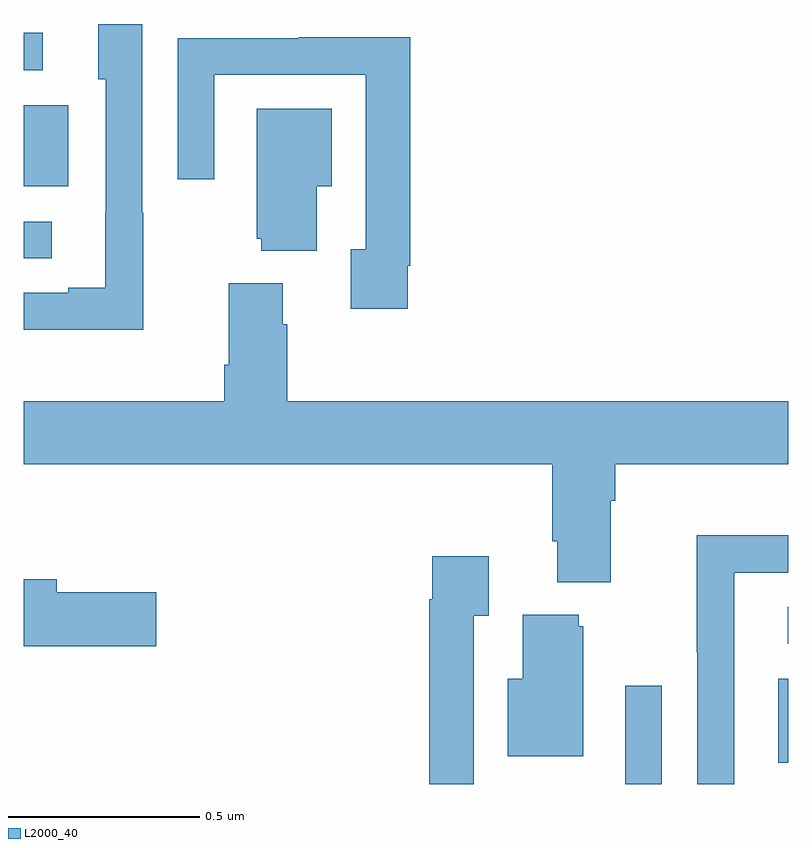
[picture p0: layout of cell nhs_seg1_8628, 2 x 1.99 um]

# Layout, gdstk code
import gdstk
lib = gdstk.Library(unit=1e-6, precision=1e-09)
def R(c, l, rs):  # rectangles x0, y0, x1, y1
    for r in rs: c.add(gdstk.rectangle(r[:2], r[2:], *l))
def P(c, l, *ps):  # polygons
    for p in ps: c.add(gdstk.Polygon(p, *l))
L2000_40 = (2000, 40)

nhs_seg1_8628 = lib.new_cell('nhs_seg1_8628')
R(nhs_seg1_8628, L2000_40, [(219.573,580.199,219.669,580.456), (219.974,580.255,220,580.474), (219.999,580.566,220,580.662), (218,581.574,218.074,581.67), (218,581.762,218.116,581.974), (218,582.066,218.05,582.164)])
P(nhs_seg1_8628, L2000_40, [(218.313,581.693),(218.31,581.693),(218.31,582.187),(218.195,582.187),(218.195,582.042),(218.214,582.042),(218.214,581.693),(218.213,581.693),(218.213,581.497),(218.117,581.497),(218.117,581.484),(218,581.484),(218,581.387),(218.313,581.387)],
  [(219.004,581.554),(219.011,581.554),(219.011,582.152),(218.719,582.152),(218.719,582.15),(218.403,582.15),(218.403,581.781),(218.499,581.781),(218.499,582.054),(218.895,582.054),(218.895,581.598),(218.855,581.598),(218.855,581.442),(219.004,581.442)],
  [(218.767,581.762),(218.806,581.762),(218.806,581.965),(218.609,581.965),(218.609,581.625),(218.621,581.625),(218.621,581.594),(218.767,581.594)],
  [(219.535,580.94),(219.548,580.94),(219.548,581.036),(220,581.036),(220,581.2),(218.69,581.2),(218.69,581.402),(218.677,581.402),(218.677,581.509),(218.537,581.509),(218.537,581.296),(218.525,581.296),(218.525,581.2),(218,581.2),(218,581.036),(219.383,581.036),(219.383,580.834),(219.395,580.834),(219.395,580.727),(219.535,580.727)],
  [(219.858,580.752),(220,580.752),(220,580.85),(219.76,580.85),(219.76,580.543),(219.762,580.543),(219.762,580.199),(219.858,580.199)],
  [(219.177,580.639),(219.217,580.639),(219.217,580.795),(219.069,580.795),(219.069,580.682),(219.061,580.682),(219.061,580.199),(219.177,580.199)],
  [(218.347,580.701),(218.086,580.701),(218.086,580.735),(218,580.735),(218,580.559),(218.347,580.559)],
  [(219.463,580.611),(219.452,580.611),(219.452,580.642),(219.305,580.642),(219.305,580.474),(219.266,580.474),(219.266,580.271),(219.463,580.271)])

lib.write_gds('nhs_seg1_8628.gds')
